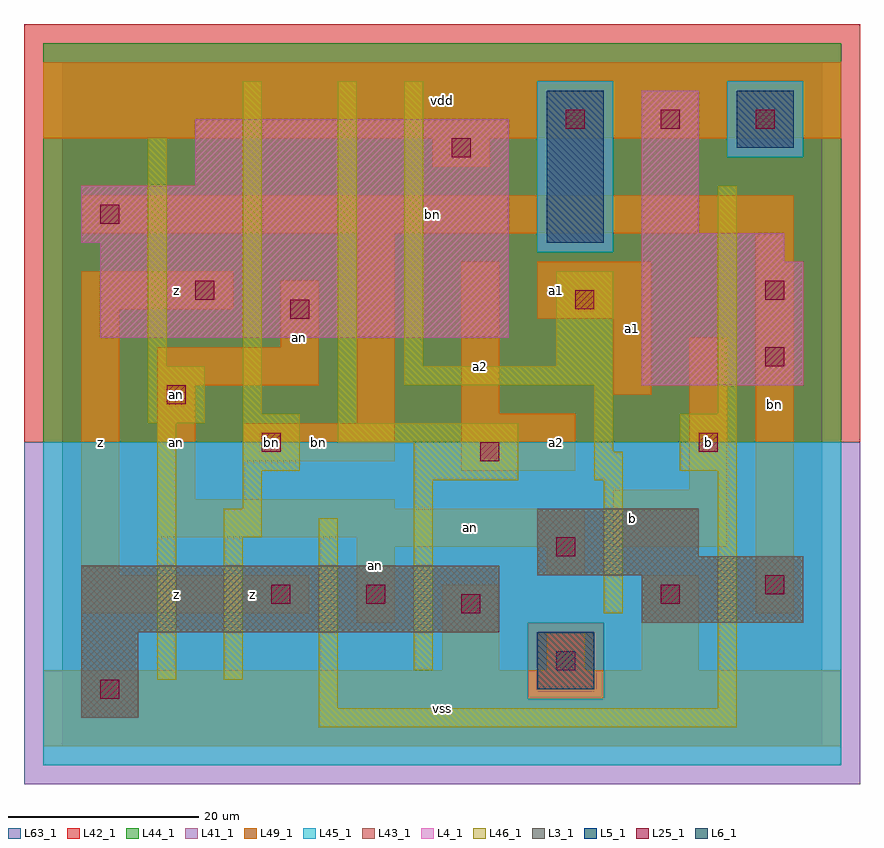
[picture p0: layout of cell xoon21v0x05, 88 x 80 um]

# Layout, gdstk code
import gdstk
lib = gdstk.Library(unit=1e-6, precision=1e-09)
def R(c, l, rs):  # rectangles x0, y0, x1, y1
    for r in rs: c.add(gdstk.rectangle(r[:2], r[2:], *l))
def A(c, l, x, y, w, h, nx, ny, dx, dy):  # array of equal rectangles
    R(c, l, [(x+i*dx, y+j*dy, x+i*dx+w, y+j*dy+h) for i in range(nx) for j in range(ny)])
L3_1 = (3, 1)
L4_1 = (4, 1)
L5_1 = (5, 1)
L6_1 = (6, 1)
L25_1 = (25, 1)
L41_1 = (41, 1)
L42_1 = (42, 1)
L43_1 = (43, 1)
L44_1 = (44, 1)
L45_1 = (45, 1)
L46_1 = (46, 1)
L49_1 = (49, 1)
L63_1 = (63, 1)

xoon21v0x05 = lib.new_cell('xoon21v0x05')
R(xoon21v0x05, L3_1, [(2,3,8,12), (2,12,46,19), (61,13,78,18), (50,18,78,20), (50,20,67,25)])
R(xoon21v0x05, L4_1, [(61,38,78,51), (4,43,47,53), (61,51,76,54), (2,53,47,59), (61,54,67,69), (14,59,47,66)])
R(xoon21v0x05, L5_1, [(51,53,57,69), (71,63,77,69)])
R(xoon21v0x05, L6_1, [(50,6,56,12), (50,6,56,12)])
A(xoon21v0x05, L25_1, 53, 65, 2, 2, 3, 1, 10, 0)
R(xoon21v0x05, L25_1, [(4,5,6,7), (52,8,54,10), (42,14,44,16), (22,15,24,17), (32,15,34,17), (63,15,65,17), (74,16,76,18), (52,20,54,22), (44,30,46,32), (21,31,23,33), (67,31,69,33), (11,36,13,38), (74,40,76,42), (24,45,26,47), (54,46,56,48), (14,47,16,49), (74,47,76,49), (4,55,6,57), (41,62,43,64)])
R(xoon21v0x05, L41_1, [(-4,-4,84,32)])
R(xoon21v0x05, L42_1, [(-4,32,84,76)])
R(xoon21v0x05, L43_1, [(2,3,8,12), (50,6,56,12), (2,12,46,19), (61,13,78,18), (50,18,78,20), (50,20,67,25), (61,38,78,51), (4,43,47,53), (61,51,76,54), (2,53,47,59), (51,53,57,69), (61,54,67,69), (14,59,47,66), (71,63,77,69)])
R(xoon21v0x05, L44_1, [(49,5,57,13), (-2,32,82,52), (-2,52,50,70), (58,52,82,62), (58,62,70,70), (78,62,82,70), (-2,70,82,74)])
R(xoon21v0x05, L45_1, [(-2,-2,82,5), (-2,5,49,13), (57,5,82,13), (-2,13,82,32), (50,52,58,70), (70,62,78,70)])
R(xoon21v0x05, L46_1, [(27,2,71,4), (27,4,29,24), (69,4,71,29), (10,7,12,34), (17,7,19,22), (37,8,39,28), (57,14,59,28), (17,22,21,25), (19,25,21,29), (37,28,48,32), (56,28,59,31), (19,29,25,35), (65,29,71,35), (56,31,58,38), (29,32,48,34), (9,34,15,40), (29,34,31,70), (19,35,21,70), (69,35,71,59), (36,38,58,40), (9,40,11,64), (36,40,38,70), (52,40,58,50)])
R(xoon21v0x05, L49_1, [(-2,0,82,8), (40,8,46,17), (51,8,55,12), (61,8,67,18), (31,13,35,21), (2,14,26,18), (73,14,77,54), (2,18,6,46), (51,18,55,21), (31,21,55,22), (58,21,70,27), (10,22,55,25), (10,25,35,26), (10,26,14,38), (66,27,70,43), (42,29,54,35), (19,30,35,34), (31,34,35,54), (42,35,46,51), (58,37,62,45), (10,38,27,42), (23,42,27,49), (50,45,62,51), (2,46,18,50), (2,54,77,58), (39,61,45,64), (-2,64,82,72)])
R(xoon21v0x05, L63_1, [(0,0,80,72)])
xoon21v0x05.add(gdstk.Label('an', (12,37), layer=49, texttype=1))
xoon21v0x05.add(gdstk.Label('bn', (22,32), layer=49, texttype=1))
xoon21v0x05.add(gdstk.Label('z', (12,16), layer=49, texttype=1))
xoon21v0x05.add(gdstk.Label('z', (4,32), layer=49, texttype=1))
xoon21v0x05.add(gdstk.Label('an', (12,32), layer=49, texttype=1))
xoon21v0x05.add(gdstk.Label('z', (12,48), layer=49, texttype=1))
xoon21v0x05.add(gdstk.Label('an', (33,19), layer=49, texttype=1))
xoon21v0x05.add(gdstk.Label('z', (20,16), layer=49, texttype=1))
xoon21v0x05.add(gdstk.Label('bn', (27,32), layer=49, texttype=1))
xoon21v0x05.add(gdstk.Label('an', (25,43), layer=49, texttype=1))
xoon21v0x05.add(gdstk.Label('vss', (40,4), layer=49, texttype=1))
xoon21v0x05.add(gdstk.Label('an', (43,23), layer=49, texttype=1))
xoon21v0x05.add(gdstk.Label('a2', (52,32), layer=49, texttype=1))
xoon21v0x05.add(gdstk.Label('a2', (44,40), layer=49, texttype=1))
xoon21v0x05.add(gdstk.Label('a1', (52,48), layer=49, texttype=1))
xoon21v0x05.add(gdstk.Label('vdd', (40,68), layer=49, texttype=1))
xoon21v0x05.add(gdstk.Label('b', (60,24), layer=49, texttype=1))
xoon21v0x05.add(gdstk.Label('b', (68,32), layer=49, texttype=1))
xoon21v0x05.add(gdstk.Label('a1', (60,44), layer=49, texttype=1))
xoon21v0x05.add(gdstk.Label('bn', (39,56), layer=49, texttype=1))
xoon21v0x05.add(gdstk.Label('bn', (75,36), layer=49, texttype=1))

lib.write_gds('xoon21v0x05.gds')
